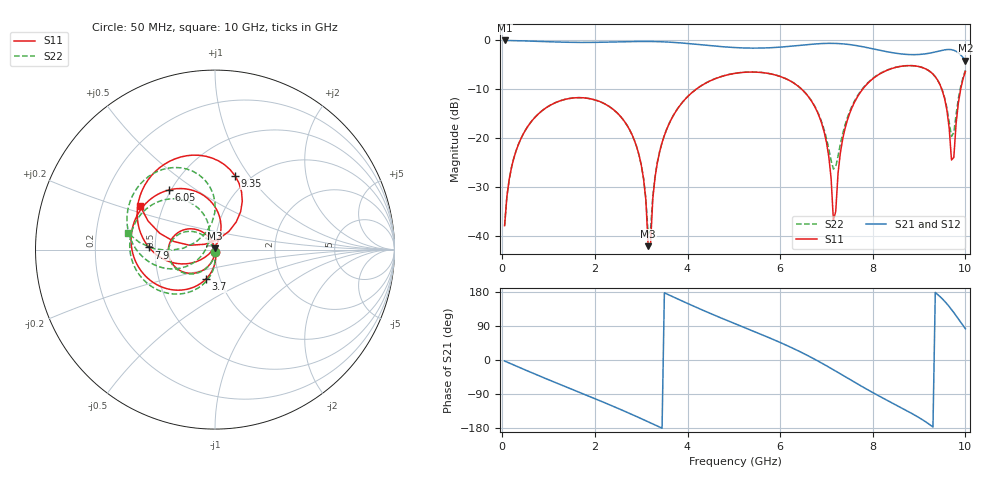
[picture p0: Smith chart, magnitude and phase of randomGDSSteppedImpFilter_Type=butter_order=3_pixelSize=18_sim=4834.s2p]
! freq	dB(S11)	phase(S11)	dB(S12)	phase(S12)
!  dB(S21)	phase(S21)	dB(S22)	phase(S22)
!S-par simulation data
#  GHz  S  DB  R 50
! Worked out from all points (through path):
!   200 points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, 50 MHz to 10 GHz, reference 50 ohm
!   highest |S21| = 0.00 dB at 50 MHz (marker M1); lowest = -4.1 dB at 10 GHz (marker M2)
!   group delay of S21, straight-line fit = 162 ps
!   lowest |S11| = -42.0 dB at 3.15 GHz (marker M3), VSWR 1.02, Z = 49.9 + j0.783 ohm
!   |S11| at or under -10 dB: start of sweep to 4.182 GHz; 6.468 GHz to 7.779 GHz (1.311 GHz wide, 18.4 % of centre); 9.492 GHz to 9.897 GHz (405.7 MHz wide, 4.18 % of centre)
!   |S22| runs from -39.5 to -5.1 dB; largest |S21 - S12| = 0
!   S11 on the Smith chart (normalised r, x): 50 MHz: 1.00, -0.03; 3.7 GHz: 0.86, -0.29; 6.05 GHz: 0.49, +0.39; 7.9 GHz: 0.46, +0.01; 9.35 GHz: 0.86, +0.86; 10 GHz: 0.37, +0.23
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0.05  -37.83 -92.5  -0.00 -2.7  -0.00 -2.7  -37.83 -92.4
0.2  -25.89 -101.0  -0.03 -10.7  -0.03 -10.7  -25.89 -100.6
0.5  -18.32 -117.4  -0.10 -26.4  -0.10 -26.4  -18.32 -116.5
1.75  -11.72 178.3  -0.41 -89.5  -0.41 -89.5  -11.72 -178.4
2.8  -19.22 123.0  -0.23 -143.7  -0.23 -143.7  -19.23 131.1
3.05  -28.22 108.3  -0.20 -157.5  -0.20 -157.5  -28.16 124.9
3.15  -42.02 98.1  -0.21 -163.1  -0.21 -163.1  -39.53 153.9
3.2  -41.86 -68.9  -0.21 -165.9  -0.21 -165.9  -38.79 -117.7
3.4  -22.67 -89.8  -0.26 -177.1  -0.26 -177.1  -22.57 -91.0
3.7  -15.23 -107.4  -0.40 165.9  -0.40 165.9  -15.20 -104.1
5.05  -6.69 179.9  -1.47 94.5  -1.47 94.5  -6.67 -171.0
6.05  -7.53 127.8  -1.33 43.6  -1.33 43.6  -7.52 141.8
6.7  -12.74 88.8  -0.76 5.0  -0.76 5.0  -12.66 110.3
7  -20.82 70.9  -0.60 -15.2  -0.60 -15.2  -20.01 107.5
7.15  -36.73 96.4  -0.60 -25.8  -0.60 -25.8  -26.27 148.9
7.4  -18.02 -147.4  -0.74 -43.7  -0.74 -43.7  -17.29 -148.5
7.9  -8.69 178.2  -1.51 -79.2  -1.51 -79.2  -8.57 -169.3
8.35  -5.94 147.4  -2.38 -109.0  -2.38 -109.0  -5.89 164.5
9.35  -7.42 74.7  -2.35 178.2  -2.35 178.2  -7.42 102.0
9.6  -14.19 52.5  -1.87 148.4  -1.87 148.4  -13.75 90.3
9.7  -24.42 72.8  -1.89 133.3  -1.89 133.3  -19.61 120.8
10  -6.34 149.9  -4.15 82.5  -4.15 82.5  -6.09 169.2
